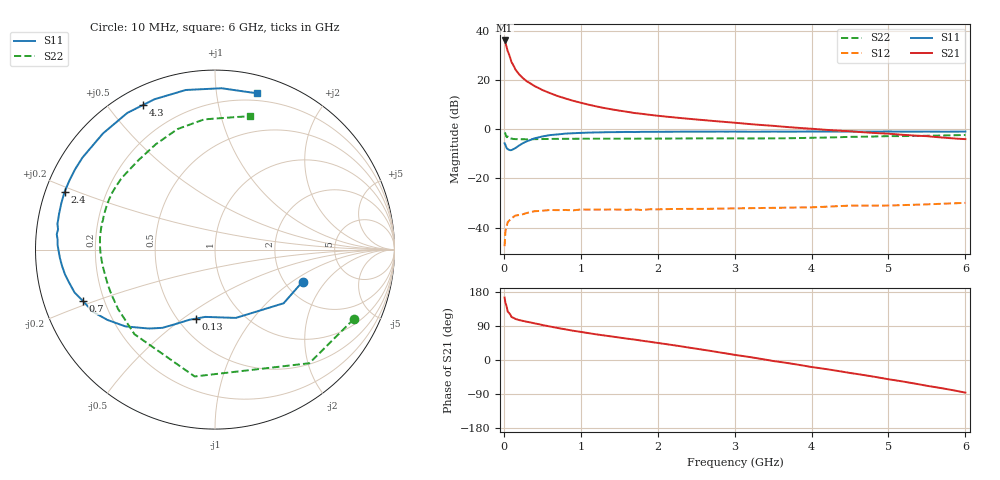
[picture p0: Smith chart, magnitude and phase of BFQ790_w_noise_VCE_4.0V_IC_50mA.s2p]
! (c) 2015  Infineon Technologies AG, Munich
! Infineon Technologies  Discrete & RF Semiconductors
! BFQ790
! VCE =  4.0 V,  IC =  50 mA
! Common Emitter S-Parameters:  May 2015
# GHz  S  MA  R  50
!  f  S11  S21  S12  S22
! GHz  MAG  ANG  MAG  ANG  MAG  ANG  MAG  ANG
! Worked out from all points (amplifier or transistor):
!   77 points, 10 MHz to 6 GHz, reference 50 ohm
!   highest |S21| = 36.2 dB at 10 MHz (marker M1)
!   |S21| within 3 dB of that: start of sweep to 38.71 MHz
!   unconditionally stable (mu >= 1): 1.479 GHz to end of sweep
!   at 130 MHz: K = 0.71, MSG = 30.6 dB, |S12| = -35.5 dB
!   at 2.2 GHz: K = 1.15, MAG = 16.3 dB, |S12| = -32.4 dB
!   at 6 GHz: K = 1.61, MAG = 8.4 dB, |S12| = -29.9 dB
!   lowest NFmin = 2.29 dB at 900 MHz
!   S11 on the Smith chart (normalised r, x): 10 MHz: 2.49, -1.21; 130 MHz: 0.61, -0.56; 700 MHz: 0.12, -0.19; 2.4 GHz: 0.06, +0.19; 4.3 GHz: 0.07, +0.62; 6 GHz: 0.14, +1.30
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0.01  0.52 -20.0  64.29 164.8  0.0042 63.6  0.8647 -26.6
0.02  0.4854 -38.0  58.62 151.4  0.0082 55.9  0.8228 -50.3
0.05  0.3979 -73.0  39.2 127.6  0.013 35.6  0.7159 -99.1
0.1  0.3789 -98.3  23.25 113.4  0.0154 25.6  0.6508 -133.6
0.13  0.3991 -105.6  19.22 110.8  0.0167 22.9  0.6351 -142.5
0.15  0.4159 -110.0  16.56 108.4  0.0176 21.3  0.6334 -148.5
0.2  0.4702 -118.0  13.08 105.3  0.0181 19.9  0.6289 -156.7
0.25  0.5252 -123.9  10.95 103.1  0.0188 16.9  0.6283 -161.8
0.3  0.5724 -129.8  9.449 100.9  0.0199 15.9  0.628 -165.6
0.4  0.6575 -139.4  7.574 96.6  0.0216 12.8  0.6315 -171.0
0.5  0.7166 -146.9  6.326 92.4  0.0221 8.6  0.6345 -174.7
0.7  0.7886 -158.6  4.757 84.5  0.0227 6.0  0.6399 179.6
0.9  0.8336 -167.3  3.813 77.2  0.0225 -0.1  0.6426 175.9
1.1  0.8574 -174.0  3.18 70.9  0.0233 -1.7  0.6444 172.8
1.5  0.8787 176.3  2.404 59.3  0.0233 -6.2  0.645 167.6
2.1  0.8924 165.1  1.821 42.2  0.0238 -11.4  0.6494 159.8
2.4  0.898 158.9  1.642 32.9  0.0241 -15.4  0.653 154.8
3.1  0.8962 143.0  1.32 10.7  0.0248 -23.4  0.6533 140.2
4.1  0.9019 120.6  1 -21.3  0.0263 -31.2  0.677 116.7
4.3  0.8999 116.3  0.951 -27.5  0.0272 -33.5  0.6878 111.9
5.1  0.8997 97.9  0.793 -53.9  0.0285 -44.6  0.7282 92.6
6  0.9019 74.8  0.632 -86.1  0.032 -58.8  0.768 75.5
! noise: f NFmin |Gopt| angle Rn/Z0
0.45  2.98  0.32  115  0.35
0.9  2.29  0.47  157  0.14
1.5  2.29  0.63  -179  0.07
1.8  2.5  0.66  -173  0.07
2.6  3.16  0.72  -155  0.19
3.5  3.95  0.82  -137  0.51
